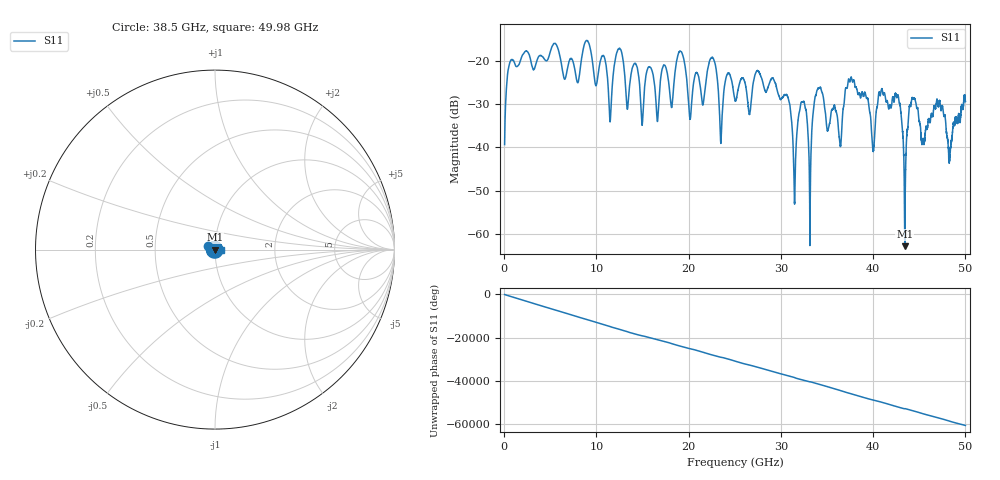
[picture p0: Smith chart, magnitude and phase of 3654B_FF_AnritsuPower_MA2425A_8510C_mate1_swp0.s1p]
!Created with skrf (http://scikit-rf.org).
# Hz S RI R 50.0
!freq ReS11 ImS11
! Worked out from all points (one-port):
!   10001 points, 45 MHz to 50 GHz, reference 50 ohm
!   lowest |S11| = -62.9 dB at 43.43 GHz (marker M1), VSWR 1.00, Z = 49.9 + j0.0424 ohm
!   |S11| at or under -10 dB: start of sweep to end of sweep
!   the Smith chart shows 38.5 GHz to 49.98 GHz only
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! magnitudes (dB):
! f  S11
! 45 MHz  -39.4
! 784.3 MHz  -19.7
! 6.289 GHz  -21.9
! 9.012 GHz  -15.3
! 11.49 GHz  -33.9
! 12.53 GHz  -17.1
! 14.96 GHz  -34.9
! 18.78 GHz  -19.1
! 20.15 GHz  -33.5
! 22.5 GHz  -19.2
! 23.48 GHz  -38.9
! 24.21 GHz  -23.0
! 25.02 GHz  -29.2
! 29.16 GHz  -24.1
! 31.27 GHz  -37.2
! 32.39 GHz  -29.5
! 33.17 GHz  -53.9
! 34.13 GHz  -26.3
! 36.43 GHz  -39.5
! 37.51 GHz  -24.6
! 40 GHz  -40.7
! 40.78 GHz  -28.0
! 42.59 GHz  -28.3
! 43.43 GHz  -62.9
! 43.76 GHz  -35.3
! 47.07 GHz  -30.6
! 48.31 GHz  -41.8
! 50 GHz  -29.4
